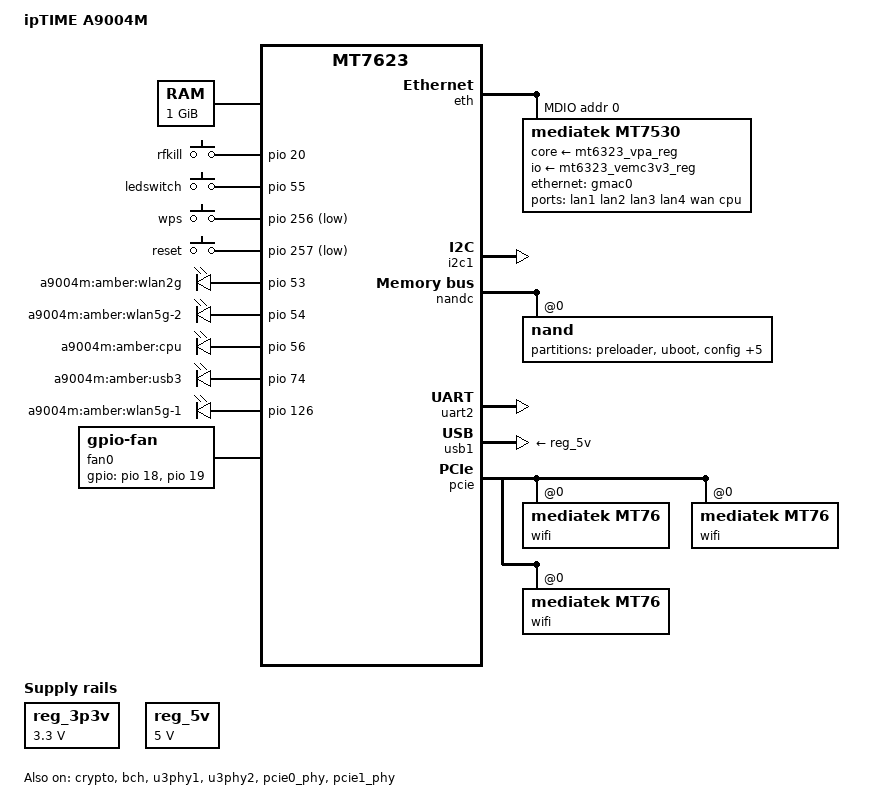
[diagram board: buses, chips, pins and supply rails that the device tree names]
// SPDX-License-Identifier: GPL-2.0-or-later OR MIT
/dts-v1/;

#include <dt-bindings/input/input.h>
#include "mt7623.dtsi"
#include "mt6323.dtsi"

/ {
	model = "ipTIME A9004M";
	compatible = "iptime,a9004m", "mediatek,mt7623";

	aliases {
		serial2 = &uart2;
		led-boot = &led_cpu;
		led-failsafe = &led_cpu;
		led-running = &led_cpu;
		led-upgrade = &led_cpu;
	};

	chosen {
		stdout-path = "serial2:115200n8";
	};

	memory@80000000 {
		device_type = "memory";
		reg = <0 0x80000000 0 0x40000000>;
	};

	cpus {
		cpu@0 {
			proc-supply = <&mt6323_vproc_reg>;
		};

		cpu@1 {
			proc-supply = <&mt6323_vproc_reg>;
		};

		cpu@2 {
			proc-supply = <&mt6323_vproc_reg>;
		};

		cpu@3 {
			proc-supply = <&mt6323_vproc_reg>;
		};
	};

	keys {
		compatible = "gpio-keys-polled";
		poll-interval = <20>;
		pinctrl-names = "default";
		pinctrl-0 = <&key_pins_b>;

		rfkill {
			label = "rfkill";
			linux,input-type = <EV_SW>;
			linux,code = <KEY_RFKILL>;
			gpios = <&pio 20 GPIO_ACTIVE_HIGH>;
		};

		ledswitch {
			label = "ledswitch";
			linux,input-type = <EV_SW>;
			linux,code = <KEY_LIGHTS_TOGGLE>;
			gpios = <&pio 55 GPIO_ACTIVE_HIGH>;
		};

		wps {
			label = "wps";
			linux,code = <KEY_WPS_BUTTON>;
			gpios = <&pio 256 GPIO_ACTIVE_LOW>;
		};

		reset {
			label = "reset";
			linux,code = <KEY_RESTART>;
			gpios = <&pio 257 GPIO_ACTIVE_LOW>;
		};
	};

	leds {
		compatible = "gpio-leds";
		pinctrl-names = "default";
		pinctrl-0 = <&led_pins_b>;

		wlan2g {
			label = "a9004m:amber:wlan2g";
			linux,default-trigger = "phy0radio";
			gpios = <&pio 53 GPIO_ACTIVE_HIGH>;
		};

		wlan5g-2 {
			label = "a9004m:amber:wlan5g-2";
			linux,default-trigger = "phy2radio";
			gpios = <&pio 54 GPIO_ACTIVE_HIGH>;
		};

		led_cpu: cpu {
			label = "a9004m:amber:cpu";
			gpios = <&pio 56 GPIO_ACTIVE_HIGH>;
		};

		usb3 {
			label = "a9004m:amber:usb3";
			trigger-sources = <&u3phy1_port1>;
			linux,default-trigger = "usbport";
			gpios = <&pio 74 GPIO_ACTIVE_HIGH>;
		};

		wlan5g-1 {
			label = "a9004m:amber:wlan5g-1";
			linux,default-trigger = "phy1radio";
			gpios = <&pio 126 GPIO_ACTIVE_HIGH>;
		};
	};

	fan0: gpio-fan {
		compatible = "gpio-fan";
		pinctrl-names = "default";
		pinctrl-0 = <&fan_pins_a>;
		gpios = <&pio 18 GPIO_ACTIVE_HIGH>,
		        <&pio 19 GPIO_ACTIVE_HIGH>;
		/* We don't know the exact rpm, just use dummy values here. */
		gpio-fan,speed-map = <0 0>, <1 1>, <2 2>;
		#cooling-cells = <2>;
	};

	reg_3p3v: regulator-3p3v {
		compatible = "regulator-fixed";
		regulator-name = "fixed-3.3V";
		regulator-min-microvolt = <3300000>;
		regulator-max-microvolt = <3300000>;
		regulator-boot-on;
		regulator-always-on;
	};

	reg_5v: regulator-5v {
		compatible = "regulator-fixed";
		regulator-name = "fixed-5V";
		regulator-min-microvolt = <5000000>;
		regulator-max-microvolt = <5000000>;
		regulator-boot-on;
		regulator-always-on;
	};
};

&crypto {
	status = "okay";
};

&eth {
	status = "okay";

	gmac0: mac@0 {
		compatible = "mediatek,eth-mac";
		reg = <0>;
		phy-mode = "trgmii";
		mtd-mac-address = <&usrdata 0xfc20>;

		fixed-link {
			speed = <1000>;
			full-duplex;
			pause;
		};
	};

	mdio-bus {
		#address-cells = <1>;
		#size-cells = <0>;

		mt7530: switch@0 {
			compatible = "mediatek,mt7530";
		};
	};
};

&mt7530 {
	compatible = "mediatek,mt7530";
	reg = <0>;
	mediatek,mcm;
	resets = <&ethsys MT2701_ETHSYS_MCM_RST>;
	reset-names = "mcm";
	core-supply = <&mt6323_vpa_reg>;
	io-supply = <&mt6323_vemc3v3_reg>;

	ports {
		#address-cells = <1>;
		#size-cells = <0>;

		port@0 {
			reg = <0>;
			label = "lan1";
		};

		port@1 {
			reg = <1>;
			label = "lan2";
		};

		port@2 {
			reg = <2>;
			label = "lan3";
		};

		port@3 {
			reg = <3>;
			label = "lan4";
		};

		port@4 {
			reg = <4>;
			label = "wan";
			mtd-mac-address = <&usrdata 0xfc40>;
		};

		port@6 {
			reg = <6>;
			label = "cpu";
			ethernet = <&gmac0>;
			phy-mode = "trgmii";

			fixed-link {
				speed = <1000>;
				full-duplex;
			};
		};
	};
};

&i2c1 {
	pinctrl-names = "default";
	pinctrl-0 = <&i2c1_pins_b>;
	status = "okay";
};

&bch {
	status = "okay";
};

&nandc {
	pinctrl-names = "default";
	pinctrl-0 = <&nand_pins_default>;
	status = "okay";

	nand@0 {
		reg = <0>;
		nand-ecc-mode = "hw";
		nand-ecc-strength = <12>;
		nand-ecc-step-size = <1024>;
		mtk,fdm-ecc-size = <8>;
		mtk,no-bad-mark-swap;

		partitions {
			compatible = "fixed-partitions";
			#address-cells = <1>;
			#size-cells = <1>;

			partition@0 {
				label = "preloader";
				reg = <0x0 0x40000>;
				read-only;
			};

			partition@40000 {
				label = "uboot";
				reg = <0x40000 0x80000>;
				read-only;
			};

			partition@c0000 {
				label = "config";
				reg = <0xc0000 0x40000>;
				read-only;
			};

			factory: partition@100000 {
				label = "factory";
				reg = <0x100000 0x40000>;
				read-only;
			};

			partition@140000 {
				label = "kernel";
				reg = <0x140000 0x800000>;
			};

			partition@940000 {
				label = "ubi";
				reg = <0x940000 0x4800000>;
			};

			usrdata: partition@5140000 {
				label = "usrdata";
				reg = <0x5140000 0x2700000>;
				read-only;
			};

			partition@7840000 {
				label = "bmtpool";
				reg = <0x7840000 0x7c0000>;
				read-only;
			};
		};
	};
};

&pio {
	key_pins_b: keys-alt {
		pins-keys {
			pinmux = <MT7623_PIN_20_PCM_RX_FUNC_GPIO20>,
			         <MT7623_PIN_55_SPI0_MI_FUNC_GPIO55>,
			         <MT7623_PIN_256_GPIO256_FUNC_GPIO256>,
			         <MT7623_PIN_257_GPIO257_FUNC_GPIO257>;
			input-enable;
		};
	};

	led_pins_b: leds-alt {
		pins-leds {
			pinmux = <MT7623_PIN_53_SPI0_CSN_FUNC_GPIO53>,
			         <MT7623_PIN_54_SPI0_CK_FUNC_GPIO54>,
			         <MT7623_PIN_56_SPI0_MO_FUNC_GPIO56>,
			         <MT7623_PIN_74_I2S0_BCK_FUNC_GPIO74>,
			         <MT7623_PIN_126_I2S0_MCLK_FUNC_GPIO126>;
		};
	};

	fan_pins_a: fan-alt {
		pins-fan {
			pinmux = <MT7623_PIN_18_PCM_CLK_FUNC_GPIO18>,
			         <MT7623_PIN_19_PCM_SYNC_FUNC_GPIO19>;
		};
	};
};

&uart2 {
	pinctrl-names = "default";
	pinctrl-0 = <&uart2_pins_b>;
	status = "okay";
};

&usb1 {
	status = "okay";

	#address-cells = <1>;
	#size-cells = <0>;
	vusb33-supply = <&reg_3p3v>;
	vbus-supply = <&reg_5v>;

	u3phy1_port1: port@1 {
		reg = <1>;
		#trigger-source-cells = <0>;
	};
};

&u3phy1 {
	status = "okay";
};

&u3phy2 {
	status = "okay";
	mediatek,phy-switch = <&hifsys>;
};

&pcie {
	pinctrl-names = "default";
	pinctrl-0 = <&pcie_default>;
	status = "okay";

	pcie@0,0 {
		status = "okay";

		wifi@0,0 {
			compatible = "mediatek,mt76";
			reg = <0x0000 0 0 0 0>;
			mediatek,mtd-eeprom = <&factory 0x0>;
			ieee80211-freq-limit = <2400000 2500000>;
		};
	};

	pcie@1,0 {
		status = "okay";

		wifi@0,0 {
			compatible = "mediatek,mt76";
			reg = <0x0000 0 0 0 0>;
			mediatek,mtd-eeprom = <&factory 0x4000>;
			ieee80211-freq-limit = <5000000 6000000>;
		};
	};

	pcie@2,0 {
		status = "okay";

		wifi@0,0 {
			compatible = "mediatek,mt76";
			reg = <0x0000 0 0 0 0>;
			mediatek,mtd-eeprom = <&factory 0x8000>;
			ieee80211-freq-limit = <5000000 6000000>;
		};
	};
};

&pcie0_phy {
	status = "okay";
};

&pcie1_phy {
	status = "okay";
};
